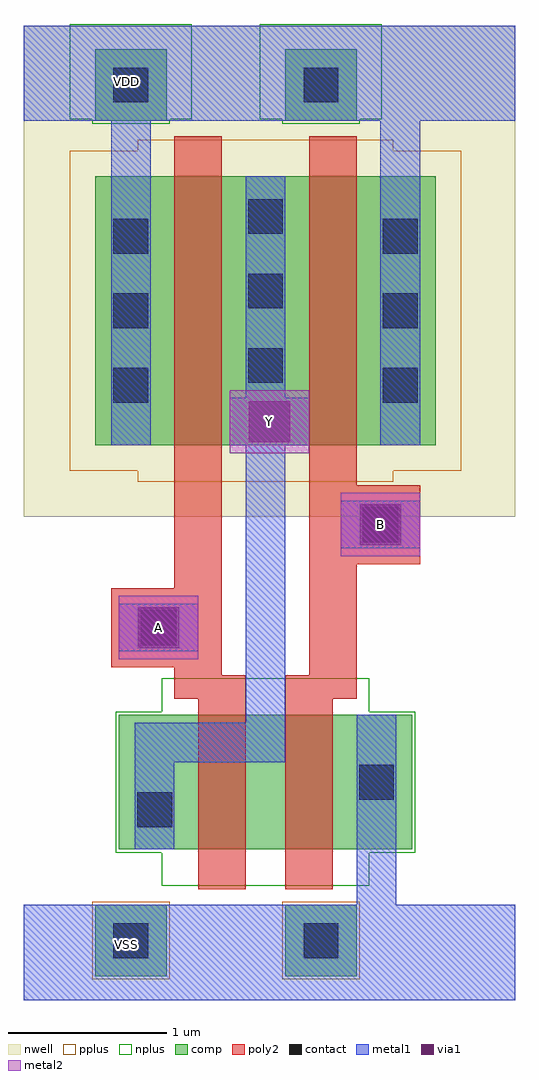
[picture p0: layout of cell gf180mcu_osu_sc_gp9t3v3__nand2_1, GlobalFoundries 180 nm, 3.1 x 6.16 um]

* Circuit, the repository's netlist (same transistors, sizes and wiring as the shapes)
* Copyright 2022 Google LLC
*
* Licensed under the Apache License, Version 2.0 (the "License");
* you may not use this file except in compliance with the License.
* You may obtain a copy of the License at
*
*      http://www.apache.org/licenses/LICENSE-2.0
*
* Unless required by applicable law or agreed to in writing, software
* distributed under the License is distributed on an "AS IS" BASIS,
* WITHOUT WARRANTIES OR CONDITIONS OF ANY KIND, either express or implied.
* See the License for the specific language governing permissions and
* limitations under the License.

.inc "/import/yukari1/lrburle/OSU_180/char/techfiles/design.hspice"
.lib "/import/yukari1/lrburle/OSU_180/char/techfiles/sm141064.hspice" typical

.GLOBAL VDD
.GLOBAL VSS

.option scale=0.05u

.subckt gf180mcu_osu_sc_gp9t3v3__nand2_1 A B Y
X0 VDD B Y VDD pmos_3p3 w=34 l=6
X1 Y A VDD VDD pmos_3p3 w=34 l=6
X2 a_28_19 A Y VSS nmos_3p3 w=17 l=6
X3 VSS B a_28_19 VSS nmos_3p3 w=17 l=6
.ends

** hspice subcircuit dictionary

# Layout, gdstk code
import gdstk
lib = gdstk.Library(unit=1e-6, precision=1e-09)
def R(c, l, rs):  # rectangles x0, y0, x1, y1
    for r in rs: c.add(gdstk.rectangle(r[:2], r[2:], *l))
def A(c, l, x, y, w, h, nx, ny, dx, dy):  # array of equal rectangles
    R(c, l, [(x+i*dx, y+j*dy, x+i*dx+w, y+j*dy+h) for i in range(nx) for j in range(ny)])
nwell = (21, 0)
comp = (22, 0)
poly2 = (30, 0)
pplus = (31, 0)
nplus = (32, 0)
contact = (33, 0)
metal1 = (34, 0)
via1 = (35, 0)
metal2 = (36, 0)

gf180mcu_osu_sc_gp9t3v3_ = lib.new_cell('gf180mcu_osu_sc_gp9t3v3__nand2_1')
R(gf180mcu_osu_sc_gp9t3v3_, nwell, [(0,3.05,3.1,6.15)])
R(gf180mcu_osu_sc_gp9t3v3_, comp, [(0.45,0.15,0.9,0.6), (1.65,0.15,2.1,0.6), (0.6,0.95,2.45,1.8), (0.45,3.5,2.6,5.2), (0.45,5.55,0.9,6), (1.65,5.55,2.1,6)])
R(gf180mcu_osu_sc_gp9t3v3_, poly2, [(1.1,0.7,1.4,1.9), (1.65,0.7,1.95,1.9), (0.95,1.9,1.4,2.05), (1.65,1.9,2.1,2.05), (0.95,2.05,1.25,2.1), (1.8,2.05,2.1,2.75), (0.55,2.1,1.25,2.6), (0.95,2.6,1.25,5.45), (1.8,2.75,2.5,3.25), (1.8,3.25,2.1,5.45)])
R(gf180mcu_osu_sc_gp9t3v3_, pplus, [(0.43,0.13,0.92,0.62), (1.63,0.13,2.12,0.62), (0.72,3.27,2.33,3.34), (0.29,3.34,2.76,5.36), (0.72,5.36,2.33,5.43)])
R(gf180mcu_osu_sc_gp9t3v3_, nplus, [(0.87,0.72,2.18,0.93), (0.58,0.93,2.47,1.82), (0.87,1.82,2.18,2.03), (0.43,5.53,0.92,5.56), (1.63,5.53,2.12,5.56), (0.29,5.56,1.06,6.16), (1.49,5.56,2.26,6.16)])
A(gf180mcu_osu_sc_gp9t3v3_, contact, 0.565, 3.77, 0.22, 0.22, 1, 3, 0, 0.47)
A(gf180mcu_osu_sc_gp9t3v3_, contact, 2.265, 3.77, 0.22, 0.22, 1, 3, 0, 0.47)
A(gf180mcu_osu_sc_gp9t3v3_, contact, 1.415, 3.895, 0.22, 0.22, 1, 3, 0, 0.47)
R(gf180mcu_osu_sc_gp9t3v3_, contact, [(0.565,0.265,0.785,0.485), (1.765,0.265,1.985,0.485), (0.715,1.09,0.935,1.31), (2.115,1.265,2.335,1.485), (0.74,2.24,0.96,2.46), (2.14,2.89,2.36,3.11), (0.565,5.665,0.785,5.885), (1.765,5.665,1.985,5.885)])
R(gf180mcu_osu_sc_gp9t3v3_, metal1, [(0,0,3.1,0.6), (2.1,0.6,2.35,1.8), (0.7,0.95,0.95,1.5), (0.7,1.5,1.65,1.75), (1.4,1.75,1.65,3.5), (0.6,2.2,1.1,2.5), (2,2.85,2.5,3.15), (0.55,3.5,0.8,5.55), (1.3,3.5,1.8,3.8), (2.25,3.5,2.5,5.55), (1.4,3.8,1.65,5.2), (0,5.55,3.1,6.15)])
R(gf180mcu_osu_sc_gp9t3v3_, via1, [(0.72,2.22,0.98,2.48), (2.12,2.87,2.38,3.13), (1.42,3.52,1.68,3.78)])
R(gf180mcu_osu_sc_gp9t3v3_, metal2, [(0.6,2.15,1.1,2.55), (2,2.8,2.5,3.2), (1.3,3.45,1.8,3.85)])
gf180mcu_osu_sc_gp9t3v3_.add(gdstk.Label('VDD', (0.65,5.8), layer=34, texttype=0))
gf180mcu_osu_sc_gp9t3v3_.add(gdstk.Label('VSS', (0.65,0.35), layer=34, texttype=0))
gf180mcu_osu_sc_gp9t3v3_.add(gdstk.Label('A', (0.85,2.35), layer=36, texttype=10))
gf180mcu_osu_sc_gp9t3v3_.add(gdstk.Label('B', (2.25,3), layer=36, texttype=10))
gf180mcu_osu_sc_gp9t3v3_.add(gdstk.Label('Y', (1.55,3.65), layer=36, texttype=10))

lib.write_gds('gf180mcu_osu_sc_gp9t3v3__nand2_1.gds')
